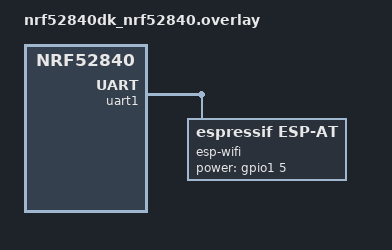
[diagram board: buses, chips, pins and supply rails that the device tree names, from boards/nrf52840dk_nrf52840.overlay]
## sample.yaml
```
sample:
  description: Access Golioth LightDB to control LEDs
  name: lightdb-led
common:
  harness: pytest
  tags: golioth socket goliothd
  timeout: 180
tests:
  sample.golioth.lightdb_led:
    platform_allow: >
      esp32
      mimxrt1060_evkb
      nrf52840dk_nrf52840
      nrf9160dk_nrf9160_ns
      qemu_x86
    extra_configs:
      - CONFIG_LOG_BACKEND_GOLIOTH=y
```

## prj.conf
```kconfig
CONFIG_GOLIOTH_SAMPLES_COMMON=y

# Application
CONFIG_ZCBOR=y
```

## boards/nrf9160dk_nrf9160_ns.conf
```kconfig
# General config
CONFIG_HEAP_MEM_POOL_SIZE=4096
CONFIG_NEWLIB_LIBC=y

# Networking
CONFIG_NET_SOCKETS_OFFLOAD=y
CONFIG_NET_IPV6=y
CONFIG_NET_IPV6_NBR_CACHE=n
CONFIG_NET_IPV6_MLD=n

# Increase native TLS socket implementation, so that it is chosen instead of
# offloaded nRF91 sockets
CONFIG_NET_SOCKETS_TLS_PRIORITY=35

# Modem library
CONFIG_NRF_MODEM_LIB=y
CONFIG_NRF_MODEM_LIB_ON_FAULT_APPLICATION_SPECIFIC=y

# LTE connectivity with network connection manager
CONFIG_LTE_CONNECTIVITY=y
CONFIG_NET_CONNECTION_MANAGER=y
CONFIG_NET_CONNECTION_MANAGER_STACK_SIZE=1024

# Increased sysworkq size, due to LTE connectivity
CONFIG_SYSTEM_WORKQUEUE_STACK_SIZE=2048

# Disable options y-selected by NCS for no good reason
CONFIG_MBEDTLS_KEY_EXCHANGE_DHE_PSK_ENABLED=n
CONFIG_MBEDTLS_KEY_EXCHANGE_DHE_RSA_ENABLED=n
```

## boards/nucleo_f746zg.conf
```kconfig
CONFIG_NET_L2_ETHERNET=y
CONFIG_NET_MGMT=y
CONFIG_NET_DHCPV4=y
```

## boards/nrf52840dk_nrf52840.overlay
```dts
/*
 * Copyright (C) 2021 Golioth, Inc.
 *
 * SPDX-License-Identifier: Apache-2.0
 */

&uart1 {
	status = "okay";
	cts-pin = <35>;
	rts-pin = <36>;
	hw-flow-control;

	esp_wifi: esp-wifi {
		compatible = "espressif,esp-at";
		label = "esp-wifi";
		power-gpios = <&gpio1 5 (GPIO_ACTIVE_HIGH | GPIO_OPEN_DRAIN)>;
		status = "okay";
	};
};
```

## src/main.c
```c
/*
 * Copyright (c) 2021-2022 Golioth, Inc.
 *
 * SPDX-License-Identifier: Apache-2.0
 */

#include <zephyr/logging/log.h>
LOG_MODULE_REGISTER(golioth_lightdb, LOG_LEVEL_DBG);

#include <net/golioth/system_client.h>
#include <samples/common/net_connect.h>
#include <zephyr/net/coap.h>

#include <zephyr/drivers/gpio.h>
#include <stdlib.h>
#include <zcbor_decode.h>

static struct golioth_client *client = GOLIOTH_SYSTEM_CLIENT_GET();

#define LED_GPIO_SPEC(i, _)						\
	COND_CODE_1(DT_NODE_HAS_STATUS(DT_ALIAS(led##i), okay),		\
		    (GPIO_DT_SPEC_GET(DT_ALIAS(led##i), gpios),),	\
		    ())

static struct gpio_dt_spec led[] = {
	LISTIFY(10, LED_GPIO_SPEC, ())
};

static void golioth_led_initialize(void)
{
	int i;

	for (i = 0; i < ARRAY_SIZE(led); i++) {
		gpio_pin_configure_dt(&led[i], GPIO_OUTPUT_INACTIVE);
	}
}

static void golioth_led_set(unsigned int id, bool value)
{
	if (id >= ARRAY_SIZE(led)) {
		LOG_WRN("There is no LED %u (total %zu)", id,
			(size_t) ARRAY_SIZE(led));
		return;
	}

	gpio_pin_set(led[id].port, led[id].pin, value);
}

static void golioth_led_set_by_name(const char *name, bool value)
{
	char *endptr;
	unsigned long id;

	id = strtoul(name, &endptr, 0);
	if (endptr == name || *endptr != '\0') {
		LOG_WRN("LED name '%s' is not valid", name);
		return;
	}

	golioth_led_set(id, value);
}

static bool zcbor_list_or_map_end(zcbor_state_t *state)
{
	if (state->indefinite_length_array) {
		return *state->payload == 0xff;
	} else {
		return state->elem_count == 0;
	}

	return false;
}

static int golioth_led_handle(struct golioth_req_rsp *rsp)
{
	ZCBOR_STATE_D(zs, 1, rsp->data, rsp->len, 1);
	struct zcbor_string label;
	char name[5];
	bool value;
	bool ok;

	if (rsp->err) {
		LOG_ERR("Failed to receive led value: %d", rsp->err);
		return rsp->err;
	}

	/*
	 * Expect map of "text string" (label) -> boolean (value) entries.
	 *
	 * Example 1:
	 * {
	 *     "0": true,
	 *     "1": false
	 * }
	 * means that:
	 * - LED 0 is expected to be switched on,
	 * - LED 1 is expected to be switched off.
	 *
	 * Example 2:
	 * {
	 *     "0": false,
	 *     "4": true,
	 *     "6": false.
	 * }
	 * means that:
	 * - LED 0 is expected to be switched off,
	 * - LED 4 is expected to be switched on,
	 * - LED 6 is expected to be switched off.
	 */
	ok = zcbor_map_start_decode(zs);
	if (!ok) {
		LOG_WRN("Did not start CBOR map correctly");
		return -EBADMSG;
	}

	/* Iterate through all entries in map */
	while (!zcbor_list_or_map_end(zs)) {
		ok = zcbor_tstr_decode(zs, &label);
		if (!ok) {
			LOG_WRN("Failed to get label");
			return -EBADMSG;
		}

		ok = zcbor_bool_decode(zs, &value);
		if (!ok) {
			LOG_WRN("Failed to get value");
			return -EBADMSG;
		}

		if (label.len > sizeof(name) - 1) {
			LOG_HEXDUMP_WRN(label.value,
					label.len,
					"Too long label");
			continue;
		}

		/* Copy label to NULL-terminated string */
		memcpy(name, label.value, label.len);
		name[label.len] = '\0';

		LOG_INF("LED %s -> %s", name, value ? "ON" : "OFF");

		/*
		 * Switch on/off requested LED based on label (LED name/id) and
		 * value (requested LED state).
		 */
		golioth_led_set_by_name(name, value);
	}

	ok = zcbor_map_end_decode(zs);
	if (!ok) {
		LOG_ERR("Failed to end CBOR");
		return -EBADMSG;
	}

	return 0;
}

static void golioth_on_connect(struct golioth_client *client)
{
	int err;

	err = golioth_lightdb_observe_cb(client, "led",
					 GOLIOTH_CONTENT_FORMAT_APP_CBOR,
					 golioth_led_handle, NULL);
	if (err) {
		LOG_WRN("failed to observe lightdb path: %d", err);
	}
}

int main(void)
{
	LOG_DBG("Start LightDB LED sample");

	net_connect();

	golioth_led_initialize();

	client->on_connect = golioth_on_connect;
	golioth_system_client_start();

	while (true) {
		k_sleep(K_SECONDS(5));
	}

	return 0;
}
```
